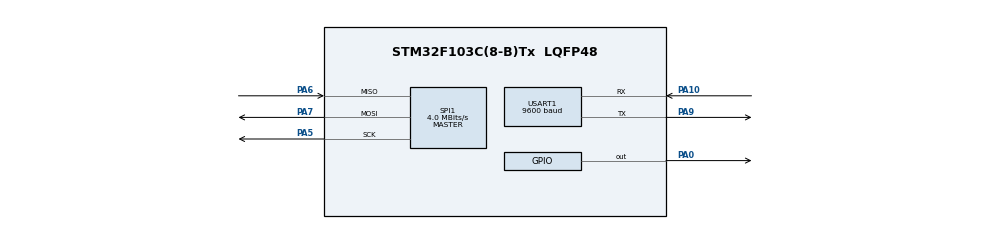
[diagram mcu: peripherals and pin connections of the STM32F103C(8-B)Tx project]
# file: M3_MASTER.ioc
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Mcu.Family=STM32F1
Mcu.Name=STM32F103C(8-B)Tx
Mcu.Package=LQFP48
NVIC.PriorityGroup=NVIC_PRIORITYGROUP_4
PA0-WKUP.Signal=GPIO_Output
PA10.Mode=Asynchronous
PA10.Signal=USART1_RX
PA5.Mode=Full_Duplex_Master
PA5.Signal=SPI1_SCK
PA6.Mode=Full_Duplex_Master
PA6.Signal=SPI1_MISO
PA7.Mode=Full_Duplex_Master
PA7.Signal=SPI1_MOSI
PA9.Mode=Asynchronous
PA9.Signal=USART1_TX
ProjectManager.HeapSize=0x200
ProjectManager.StackSize=0x400
ProjectManager.TargetToolchain=STM32CubeIDE
RCC.APB1Freq_Value=8000000
RCC.APB2Freq_Value=8000000
SPI1.CalculateBaudRate=4.0 MBits/s
SPI1.Direction=SPI_DIRECTION_2LINES
SPI1.Mode=SPI_MODE_MASTER
SPI1.VirtualType=VM_MASTER
USART1.BaudRate=9600
USART1.VirtualMode=VM_ASYNC
VP_SYS_VS_ND.Mode=No_Debug
board=custom

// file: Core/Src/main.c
/* USER CODE BEGIN Header */
/**
  ******************************************************************************
  * @file           : main.c
  * @brief          : Milestone 3 - SPI Master
  ******************************************************************************
  * @attention
  *
  * Copyright (c) 2026 STMicroelectronics.
  * All rights reserved.
  *
  ******************************************************************************
  */

/* USER CODE END Header */

#include "main.h"

SPI_HandleTypeDef hspi1;

UART_HandleTypeDef huart1;

void SystemClock_Config(void);
static void MX_GPIO_Init(void);
static void MX_SPI1_Init(void);
static void MX_USART1_UART_Init(void);

/* USER CODE BEGIN 0 */

/*
 * Send one character through USART1
 */
void UART_SendChar(char c)
{
    HAL_UART_Transmit(&huart1,
                      (uint8_t *)&c,
                      1,
                      HAL_MAX_DELAY);
}

/*
 * Send a string through USART1
 */
void UART_SendString(char *str)
{
    HAL_UART_Transmit(&huart1,
                      (uint8_t *)str,
                      strlen(str),
                      HAL_MAX_DELAY);
}

/*
 * Receive one character from USART1
 */
char UART_GetChar(void)
{
    char c;

    HAL_UART_Receive(&huart1,
                     (uint8_t *)&c,
                     1,
                     HAL_MAX_DELAY);

    return c;
}

/*
 * Convert ASCII Case ID to the required SPI ID.
 *
 * User enters:
 *
 * 1 -> 0x1001
 * 2 -> 0x1002
 * 3 -> 0x1003
 * 4 -> 0x1004
 * 5 -> 0x1005
 */
uint16_t GetCaseID(char input)
{
    switch (input)
    {
        case '1':
            return 0x1001;

        case '2':
            return 0x1002;

        case '3':
            return 0x1003;

        case '4':
            return 0x1004;

        case '5':
            return 0x1005;

        default:
            return 0;
    }
}

/*
 * Send Case ID to Slave.
 *
 * The Case ID is 16 bits and is sent MSB first.
 */
HAL_StatusTypeDef SendCaseID(uint16_t caseID)
{
    uint8_t txData[2];

    txData[0] = (uint8_t)((caseID >> 8) & 0xFF);
    txData[1] = (uint8_t)(caseID & 0xFF);

    /*
     * Select Slave
     */
    HAL_GPIO_WritePin(GPIOA,
                      GPIO_PIN_0,
                      GPIO_PIN_RESET);

    /*
     * Send 2 bytes
     */
    HAL_StatusTypeDef status =
        HAL_SPI_Transmit(&hspi1,
                         txData,
                         2,
                         HAL_MAX_DELAY);

    /*
     * Deselect Slave
     */
    HAL_GPIO_WritePin(GPIOA,
                      GPIO_PIN_0,
                      GPIO_PIN_SET);

    return status;
}

/*
 * Receive the 24-bit response from the Slave.
 *
 * SPI is full duplex, therefore the Master must transmit
 * dummy bytes to generate the clock.
 */
HAL_StatusTypeDef ReceiveResponse(uint8_t *rxData)
{
    uint8_t dummy[3] = {0x00, 0x00, 0x00};

    HAL_StatusTypeDef status;

    /*
     * Select Slave
     */
    HAL_GPIO_WritePin(GPIOA,
                      GPIO_PIN_0,
                      GPIO_PIN_RESET);

    /*
     * Clock 3 bytes from Slave.
     *
     * TransmitReceive is used because the Master
     * needs to generate clock pulses while receiving.
     */
    status = HAL_SPI_TransmitReceive(&hspi1,
                                     dummy,
                                     rxData,
                                     3,
                                     HAL_MAX_DELAY);

    /*
     * Deselect Slave
     */
    HAL_GPIO_WritePin(GPIOA,
                      GPIO_PIN_0,
                      GPIO_PIN_SET);

    return status;
}

/*
 * Decode the 24-bit message.
 *
 * Bits 23:12 = Voltage
 * Bits 11:0  = Wheel Speed
 */
void DecodeResponse(uint8_t *rxData,
                    uint16_t *voltage,
                    uint16_t *speed)
{
    uint32_t message;

    /*
     * Reconstruct 24-bit message
     */
    message = ((uint32_t)rxData[0] << 16) |
              ((uint32_t)rxData[1] << 8)  |
              ((uint32_t)rxData[2]);

    /*
     * Extract voltage
     */
    *voltage = (uint16_t)((message >> 12) & 0x0FFF);

    /*
     * Extract wheel speed
     */
    *speed = (uint16_t)(message & 0x0FFF);
}

/*
 * Print the received data.
 *
 * Voltage is stored as an integer:
 *
 * 123 = 12.3 V
 * 142 = 14.2 V
 */
void DisplayData(uint16_t voltage,
                 uint16_t speed)
{
    char buffer[100];

    UART_SendString("\r\n");

    sprintf(buffer,
            "Voltage : %d.%d V\r\n",
            voltage / 10,
            voltage % 10);

    UART_SendString(buffer);
    sprintf(buffer,
            "Wheel Speed: %d\r\n",
            speed);

    UART_SendString(buffer);

    UART_SendString("================================\r\n");
}

/* USER CODE END 0 */

int main(void)
{
    /* USER CODE BEGIN 1 */

    uint16_t caseID;
    uint16_t voltage;
    uint16_t speed;

    uint8_t rxData[3];

    char input;

    /* USER CODE END 1 */

    /* MCU Configuration------------------------------------------------------*/

    HAL_Init();

    SystemClock_Config();

    MX_GPIO_Init();
    MX_SPI1_Init();
    MX_USART1_UART_Init();

    /* USER CODE BEGIN 2 */

    /*
     * Make sure Slave is not selected initially.
     *
     * CS = HIGH -> Slave disabled
     */
    HAL_GPIO_WritePin(GPIOA,
                      GPIO_PIN_0,
                      GPIO_PIN_SET);

    /*
     * Welcome message
     */
    UART_SendString("\r\n");
    UART_SendString("********************************\r\n");
    UART_SendString(" STM32 SPI Sensor Network\r\n");
    UART_SendString(" Master\r\n");
    UART_SendString("********************************\r\n");

    UART_SendString("Enter Case ID (1-5): ");

    /* USER CODE END 2 */

    /* Infinite loop */
    while (1)
    {

        /* USER CODE BEGIN 3 */

        /*
         * ============================================================
         * STEP 1: Receive Case ID from Virtual Terminal
         * ============================================================
         */
        input = UART_GetChar();

        /*
         * Echo the entered character
         */
        UART_SendChar(input);

        UART_SendString("\r\n");

        /*
         * ============================================================
         * STEP 2: Convert input to Case ID
         * ============================================================
         */
        caseID = GetCaseID(input);

        /*
         * Check whether the Case ID is valid
         */
        if (caseID == 0)
        {
            UART_SendString("Invalid Case ID!\r\n");
            UART_SendString("Please enter a number from 1 to 5: ");

            continue;
        }

        /*
         * ============================================================
         * SPI CYCLE 1
         * ============================================================
         *
         * Send Case ID to Slave.
         *
         * Example:
         *
         * User enters:
         *      1
         *
         * Master sends:
         *      0x10
         *      0x01
         *
         * Slave receives:
         *      0x1001
         */
        if (SendCaseID(caseID) != HAL_OK)
        {
            UART_SendString("SPI Error while sending Case ID!\r\n");

            continue;
        }

        /*
         * Small delay between the two SPI transactions.
         *
         * This gives the Slave time to process the received
         * Case ID and prepare its 24-bit response.
         */
        HAL_Delay(1);

        /*
         * ============================================================
         * SPI CYCLE 2
         * ============================================================
         *
         * Receive 3 bytes from Slave.
         *
         * Master sends dummy bytes:
         *
         *      0x00 0x00 0x00
         *
         * Slave sends:
         *
         *      Voltage + Speed
         */
        if (ReceiveResponse(rxData) != HAL_OK)
        {
            UART_SendString("SPI Error while receiving response!\r\n");

            continue;
        }

        /*
         * ============================================================
         * STEP 3: Decode 24-bit response
         * ============================================================
         */
        DecodeResponse(rxData,
                       &voltage,
                       &speed);

        /*
         * ============================================================
         * STEP 4: Display result on Virtual Terminal
         * ============================================================
         */
        DisplayData(voltage,
                    speed);

        /*
         * Ask for another Case ID
         */
        UART_SendString("\r\nEnter Case ID (1-5): ");
    }
    /* USER CODE END 3 */
}

void SystemClock_Config(void)
{
    RCC_OscInitTypeDef RCC_OscInitStruct = {0};
    RCC_ClkInitTypeDef RCC_ClkInitStruct = {0};

    /*
     * Initializes the RCC Oscillators according to the specified
     * parameters in the RCC_OscInitTypeDef structure.
     */
    RCC_OscInitStruct.OscillatorType = RCC_OSCILLATORTYPE_HSI;
    RCC_OscInitStruct.HSIState = RCC_HSI_ON;
    RCC_OscInitStruct.HSICalibrationValue = RCC_HSICALIBRATION_DEFAULT;
    RCC_OscInitStruct.PLL.PLLState = RCC_PLL_NONE;

    if (HAL_RCC_OscConfig(&RCC_OscInitStruct) != HAL_OK)
    {
        Error_Handler();
    }

    /*
     * Initializes the CPU, AHB and APB buses clocks
     */
    RCC_ClkInitStruct.ClockType = RCC_CLOCKTYPE_HCLK |
                                  RCC_CLOCKTYPE_SYSCLK |
                                  RCC_CLOCKTYPE_PCLK1 |
                                  RCC_CLOCKTYPE_PCLK2;

    RCC_ClkInitStruct.SYSCLKSource = RCC_SYSCLKSOURCE_HSI;

    RCC_ClkInitStruct.AHBCLKDivider = RCC_SYSCLK_DIV1;

    RCC_ClkInitStruct.APB1CLKDivider = RCC_HCLK_DIV1;

    RCC_ClkInitStruct.APB2CLKDivider = RCC_HCLK_DIV1;

    if (HAL_RCC_ClockConfig(&RCC_ClkInitStruct,
                            FLASH_LATENCY_0) != HAL_OK)
    {
        Error_Handler();
    }
}

static void MX_SPI1_Init(void)
{

    /* SPI1 parameter configuration*/

    hspi1.Instance = SPI1;

    /*
     * Master mode
     */
    hspi1.Init.Mode = SPI_MODE_MASTER;

    /*
     * Full duplex
     */
    hspi1.Init.Direction = SPI_DIRECTION_2LINES;

    /*
     * 8-bit SPI
     */
    hspi1.Init.DataSize = SPI_DATASIZE_8BIT;

    /*
     * Clock polarity = LOW
     */
    hspi1.Init.CLKPolarity = SPI_POLARITY_LOW;

    /*
     * Clock phase = first edge
     */
    hspi1.Init.CLKPhase = SPI_PHASE_1EDGE;

    /*
     * Software NSS.
     *
     * PA0 is used as our manual CS.
     */
    hspi1.Init.NSS = SPI_NSS_SOFT;

    /*
     * SPI clock = APB2 clock / 2
     */
    hspi1.Init.BaudRatePrescaler = SPI_BAUDRATEPRESCALER_32;

    /*
     * MSB first
     */
    hspi1.Init.FirstBit = SPI_FIRSTBIT_MSB;

    hspi1.Init.TIMode = SPI_TIMODE_DISABLE;

    hspi1.Init.CRCCalculation = SPI_CRCCALCULATION_DISABLE;

    hspi1.Init.CRCPolynomial = 10;

    if (HAL_SPI_Init(&hspi1) != HAL_OK)
    {
        Error_Handler();
    }

}

static void MX_USART1_UART_Init(void)
{

    huart1.Instance = USART1;

    huart1.Init.BaudRate = 9600;

    huart1.Init.WordLength = UART_WORDLENGTH_8B;

    huart1.Init.StopBits = UART_STOPBITS_1;

    huart1.Init.Parity = UART_PARITY_NONE;

    huart1.Init.Mode = UART_MODE_TX_RX;

    huart1.Init.HwFlowCtl = UART_HWCONTROL_NONE;

    huart1.Init.OverSampling = UART_OVERSAMPLING_16;

    if (HAL_UART_Init(&huart1) != HAL_OK)
    {
        Error_Handler();
    }

}

static void MX_GPIO_Init(void)
{
    GPIO_InitTypeDef GPIO_InitStruct = {0};

    /*
     * GPIO Ports Clock Enable
     */
    __HAL_RCC_GPIOA_CLK_ENABLE();

    /*
     * PA0 initial state = HIGH
     *
     * HIGH = Slave not selected
     */
    HAL_GPIO_WritePin(GPIOA,
                      GPIO_PIN_0,
                      GPIO_PIN_SET);

    /*
     * Configure GPIO pin : PA0
     *
     * PA0 is our manual Chip Select / NSS signal.
     */
    GPIO_InitStruct.Pin = GPIO_PIN_0;

    GPIO_InitStruct.Mode = GPIO_MODE_OUTPUT_PP;

    GPIO_InitStruct.Pull = GPIO_NOPULL;

    GPIO_InitStruct.Speed = GPIO_SPEED_FREQ_LOW;

    HAL_GPIO_Init(GPIOA,
                  &GPIO_InitStruct);

}

void Error_Handler(void)
{
    __disable_irq();
    while (1)
    {
    }
}

#ifdef USE_FULL_ASSERT

/**
  * @brief  Reports the name of the source file and the source line number
  *         where the assert_param error has occurred.
  * @param  file: pointer to the source file name
  * @param  line: assert_param error line source number
  * @retval None
  */
void assert_failed(uint8_t *file, uint32_t line)
{
    /* USER CODE BEGIN 6 */

    /*
     * User can add implementation to report the file name and line number.
     */

    /* USER CODE END 6 */
}

#endif /* USE_FULL_ASSERT */
